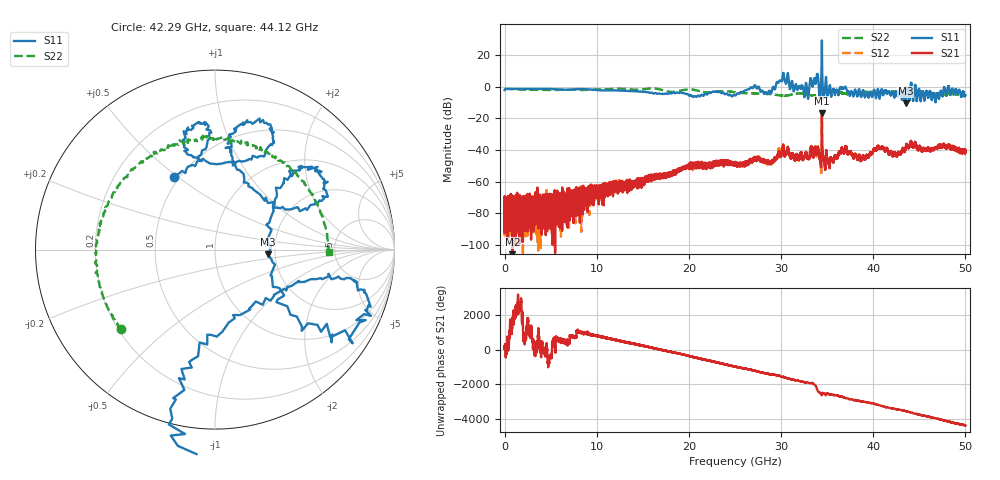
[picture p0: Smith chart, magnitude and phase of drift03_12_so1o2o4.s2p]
!Created with skrf (http://scikit-rf.org).
# Hz S RI R 50.0
!freq ReS11 ImS11 ReS21 ImS21 ReS12 ImS12 ReS22 ImS22
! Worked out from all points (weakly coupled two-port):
!   10000 points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, 5.3 MHz to 50 GHz, reference 50 ohm
!   highest |S21| = -16.89 dB at 34.43 GHz (marker M1); lowest = -113.1 dB at 845.3 MHz (marker M2)
!   lowest |S11| = -10.6 dB at 43.53 GHz (marker M3), VSWR 1.84, Z = 91.6 - j5.21 ohm
!   |S11| at or under -10 dB: 43.50697 GHz to 43.5339 GHz (26.93 MHz wide, 0.0619 % of centre)
!   |S22| runs from -5.8 to -1.1 dB; largest |S21 - S12| = 0.04
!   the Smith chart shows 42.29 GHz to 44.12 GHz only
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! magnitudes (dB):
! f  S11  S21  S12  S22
! 5.3 MHz  -2.1  -83.4  -76.6  -1.3
! 845.3 MHz  -1.4  -113.1  -77.5  -1.5
! 4.24 GHz  -1.4  -73.4  -76.3  -2.0
! 8.34 GHz  -1.5  -68.8  -65.8  -2.1
! 16.67 GHz  -4.4  -55.9  -56.6  -1.5
! 20.11 GHz  -5.6  -49.2  -50.3  -1.7
! 25.01 GHz  -5.5  -49.1  -48.9  -3.5
! 27.02 GHz  -0.4  -46.3  -45.2  -4.3
! 28.72 GHz  -2.5  -48.4  -48.2  -4.6
! 30.14 GHz  4.4  -40.4  -40.3  -5.6
! 32.74 GHz  2.0  -41.5  -42.3  -4.6
! 33.34 GHz  2.6  -39.8  -40.6  -5.6
! 33.82 GHz  3.9  -41.1  -42.2  -5.7
! 34.43 GHz  29.2  -16.9  -18.4  -4.6
! 35.37 GHz  -2.5  -45.2  -45.2  -3.4
! 36.84 GHz  -0.7  -42.5  -41.6  -4.2
! 38.87 GHz  -2.4  -44.4  -43.7  -3.2
! 40.6 GHz  -4.2  -38.2  -38.0  -4.1
! 41.67 GHz  -3.3  -41.9  -42.1  -3.4
! 42.71 GHz  -6.1  -41.6  -41.8  -3.6
! 43.53 GHz  -10.6  -38.7  -39.1  -4.3
! 50 GHz  -5.4  -40.8  -40.7  -4.6
